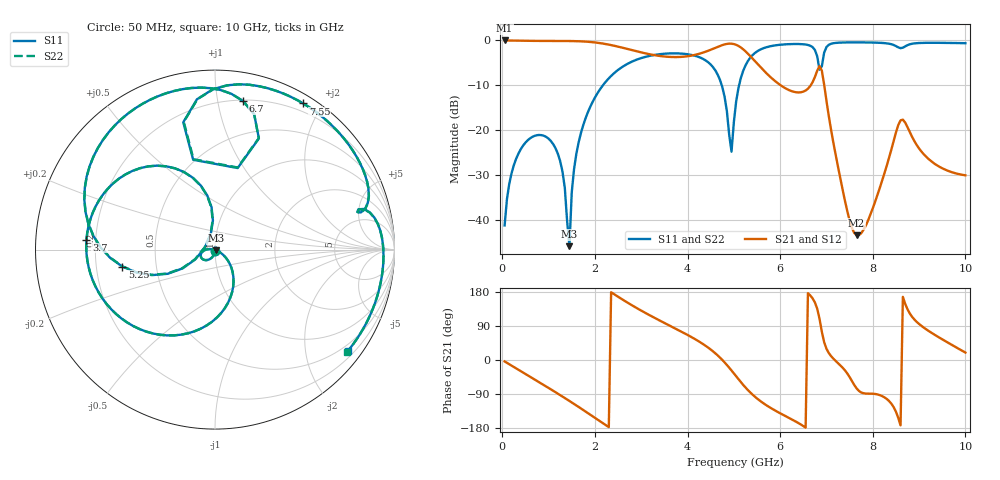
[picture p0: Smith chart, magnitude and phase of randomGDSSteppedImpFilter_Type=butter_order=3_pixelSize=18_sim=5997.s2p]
! freq	dB(S11)	phase(S11)	dB(S12)	phase(S12)
!  dB(S21)	phase(S21)	dB(S22)	phase(S22)
!S-par simulation data
#  GHz  S  DB  R 50
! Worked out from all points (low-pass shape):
!   200 points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, 50 MHz to 10 GHz, reference 50 ohm
!   highest |S21| = -0.01 dB at 50 MHz (marker M1); lowest = -43.4 dB at 7.65 GHz (marker M2)
!   |S21| within 3 dB of the highest: start of sweep to 3.148 GHz; 4.241 GHz to 5.309 GHz (1.067 GHz wide, 22.3 % of centre)
!   lowest |S11| = -45.8 dB at 1.45 GHz (marker M3), VSWR 1.01, Z = 50.4 - j0.342 ohm
!   |S11| at or under -10 dB: start of sweep to 2.173 GHz; 4.739 GHz to 5.113 GHz (374.4 MHz wide, 7.6 % of centre)
!   |S22| runs from -45.8 to -0.4 dB; largest |S21 - S12| = 0
!   S11 on the Smith chart (normalised r, x): 50 MHz: 1.00, -0.02; 3.7 GHz: 0.16, +0.04; 5.25 GHz: 0.31, -0.08; 6.7 GHz: 0.21, +1.19; 7.55 GHz: 0.10, +1.77; 10 GHz: 0.34, -2.91
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0.05  -41.20 -91.2  -0.01 -3.8  -0.01 -3.8  -41.20 -91.2
0.3  -26.33 -112.0  -0.05 -22.2  -0.05 -22.2  -26.33 -112.0
0.9  -21.24 -156.5  -0.12 -66.3  -0.12 -66.3  -21.24 -156.5
1.25  -26.88 178.3  -0.12 -92.6  -0.12 -92.6  -26.88 178.4
1.45  -45.82 -41.5  -0.13 -108.1  -0.13 -108.1  -45.80 -42.3
1.55  -28.62 -29.8  -0.15 -116.0  -0.15 -116.0  -28.62 -29.9
1.75  -18.79 -44.0  -0.23 -132.1  -0.23 -132.1  -18.80 -44.1
2.4  -7.42 -96.3  -1.15 174.8  -1.15 174.8  -7.43 -96.3
3.4  -3.07 -166.1  -3.46 104.1  -3.46 104.1  -3.07 -166.1
3.7  -2.87 175.6  -3.71 85.4  -3.71 85.4  -2.87 175.6
4.6  -6.67 111.6  -1.65 17.7  -1.65 17.7  -6.67 111.7
4.95  -24.78 168.8  -0.73 -27.7  -0.73 -27.7  -24.52 168.3
5.05  -13.60 -149.9  -0.98 -43.1  -0.98 -43.1  -13.57 -150.4
5.25  -5.60 -169.6  -2.42 -72.4  -2.42 -72.4  -5.59 -169.9
5.75  -1.39 142.7  -7.77 -123.1  -7.77 -123.1  -1.39 142.6
6.7  -1.49 79.3  -9.31 162.7  -9.31 162.7  -1.49 79.3
6.9  -5.76 103.7  -6.72 74.6  -6.72 74.6  -5.72 103.4
7.55  -0.44 58.9  -41.74 -55.5  -41.74 -55.5  -0.44 58.8
7.65  -0.43 54.1  -43.37 -74.8  -43.37 -74.8  -0.43 54.0
8.35  -0.73 21.6  -26.20 -108.0  -26.20 -108.0  -0.73 21.6
8.65  -1.61 15.7  -17.65 166.6  -17.65 166.6  -1.61 15.6
10  -0.62 -37.5  -30.04 19.7  -30.04 19.7  -0.62 -37.6
